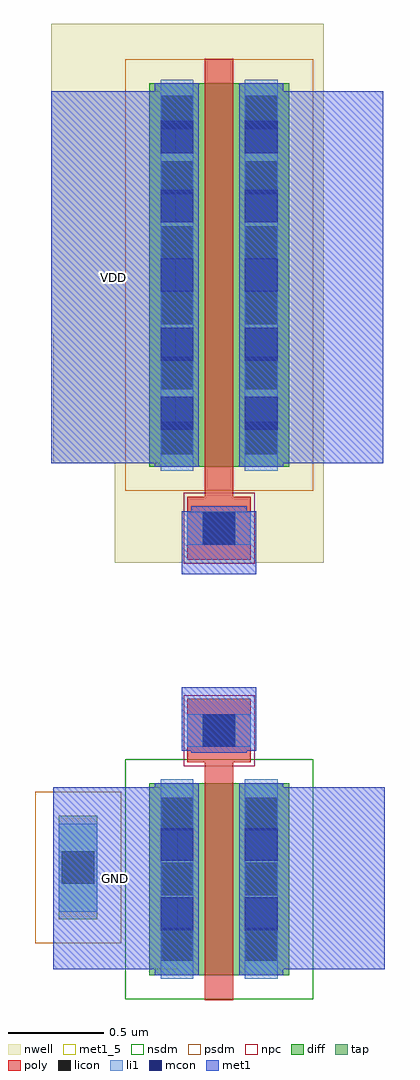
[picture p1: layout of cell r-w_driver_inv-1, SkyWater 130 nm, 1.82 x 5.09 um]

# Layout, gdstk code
import gdstk
lib = gdstk.Library(unit=1e-6, precision=1e-09)
def R(c, l, rs):  # rectangles x0, y0, x1, y1
    for r in rs: c.add(gdstk.rectangle(r[:2], r[2:], *l))
def A(c, l, x, y, w, h, nx, ny, dx, dy):  # array of equal rectangles
    R(c, l, [(x+i*dx, y+j*dy, x+i*dx+w, y+j*dy+h) for i in range(nx) for j in range(ny)])
nwell = (64, 20)
diff = (65, 20)
tap = (65, 44)
poly = (66, 20)
licon = (66, 44)
li1 = (67, 20)
mcon = (67, 44)
met1_5 = (68, 5)
met1 = (68, 20)
nsdm = (93, 44)
psdm = (94, 20)
npc = (95, 20)

sky130_fd_pr__nfet_01v8_ = lib.new_cell('sky130_fd_pr__nfet_01v8_VUA4HL')
R(sky130_fd_pr__nfet_01v8_, diff, [(-0.365,-0.655,0.365,0.345)])
R(sky130_fd_pr__nfet_01v8_, poly, [(-0.075,-0.785,0.075,0.455), (-0.165,0.455,0.165,0.785)])
A(sky130_fd_pr__nfet_01v8_, licon, -0.305, -0.58, 0.17, 0.17, 1, 3, 0, 0.34)
A(sky130_fd_pr__nfet_01v8_, licon, 0.135, -0.58, 0.17, 0.17, 1, 3, 0, 0.34)
R(sky130_fd_pr__nfet_01v8_, licon, [(-0.085,0.535,0.085,0.705)])
R(sky130_fd_pr__nfet_01v8_, li1, [(-0.305,-0.675,-0.135,0.365), (0.135,-0.675,0.305,0.365), (-0.165,0.535,0.165,0.705)])
R(sky130_fd_pr__nfet_01v8_, mcon, [(-0.305,-0.42,-0.135,-0.25), (0.135,-0.42,0.305,-0.25), (-0.305,-0.06,-0.135,0.11), (0.135,-0.06,0.305,0.11), (-0.085,0.535,0.085,0.705)])
R(sky130_fd_pr__nfet_01v8_, met1, [(-0.335,-0.655,-0.105,0.345), (0.105,-0.655,0.335,0.345), (-0.145,0.505,0.145,0.735)])
R(sky130_fd_pr__nfet_01v8_, nsdm, [(-0.49,-0.78,0.49,0.47)])
R(sky130_fd_pr__nfet_01v8_, npc, [(-0.185,0.435,0.185,0.805)])
sky130_fd_pr__nfet_01v8_.add(gdstk.Label('G', (0,0.62), layer=67, texttype=5))
sky130_fd_pr__nfet_01v8_.add(gdstk.Label('S', (0.22,-0.155), layer=67, texttype=5))
sky130_fd_pr__nfet_01v8_.add(gdstk.Label('D', (-0.22,-0.155), layer=67, texttype=5))

sky130_fd_pr__pfet_01v8_ = lib.new_cell('sky130_fd_pr__pfet_01v8_L56CHA')
R(sky130_fd_pr__pfet_01v8_, nwell, [(-0.545,-1.32,0.545,1.49)])
R(sky130_fd_pr__pfet_01v8_, diff, [(-0.365,-0.82,0.365,1.18)])
R(sky130_fd_pr__pfet_01v8_, poly, [(-0.165,-1.305,0.165,-0.975), (-0.075,-0.975,0.075,1.31)])
A(sky130_fd_pr__pfet_01v8_, licon, -0.305, -0.755, 0.17, 0.17, 1, 6, 0, 0.34)
A(sky130_fd_pr__pfet_01v8_, licon, 0.135, -0.755, 0.17, 0.17, 1, 6, 0, 0.34)
R(sky130_fd_pr__pfet_01v8_, licon, [(-0.085,-1.225,0.085,-1.055)])
R(sky130_fd_pr__pfet_01v8_, li1, [(-0.165,-1.225,0.165,-1.055), (-0.305,-0.84,-0.135,1.2), (0.135,-0.84,0.305,1.2)])
A(sky130_fd_pr__pfet_01v8_, mcon, -0.305, -0.625, 0.17, 0.17, 1, 5, 0, 0.36)
A(sky130_fd_pr__pfet_01v8_, mcon, 0.135, -0.625, 0.17, 0.17, 1, 5, 0, 0.36)
R(sky130_fd_pr__pfet_01v8_, mcon, [(-0.085,-1.225,0.085,-1.055)])
R(sky130_fd_pr__pfet_01v8_, met1, [(-0.145,-1.255,0.145,-1.025), (-0.335,-0.82,-0.105,1.18), (0.105,-0.82,0.335,1.18)])
R(sky130_fd_pr__pfet_01v8_, psdm, [(-0.49,-0.945,0.49,1.305)])
R(sky130_fd_pr__pfet_01v8_, npc, [(-0.185,-1.325,0.185,-0.955)])
sky130_fd_pr__pfet_01v8_.add(gdstk.Label('G', (0,-1.14), layer=67, texttype=5))
sky130_fd_pr__pfet_01v8_.add(gdstk.Label('S', (0.22,0.18), layer=67, texttype=5))
sky130_fd_pr__pfet_01v8_.add(gdstk.Label('D', (-0.22,0.18), layer=67, texttype=5))

r_w_driver_inv_1 = lib.new_cell('r-w_driver_inv-1')
R(r_w_driver_inv_1, nwell, [(-0.5,2.34,0,3.02), (-0.51,3.02,0,3.95), (-0.51,3.95,-0.01,4.02), (-0.51,4.02,-0.15,4.35), (-0.51,4.35,0.13,4.59), (-0.51,4.59,-0.15,4.63)])
R(r_w_driver_inv_1, tap, [(-0.47,-0.04,-0.27,0.5)])
R(r_w_driver_inv_1, licon, [(-0.455,0.145,-0.285,0.315)])
R(r_w_driver_inv_1, li1, [(-0.47,0,-0.27,0.46)])
R(r_w_driver_inv_1, met1_5, [(-0.5,-0.3,0.15,0.65), (-0.51,2.34,0.14,4.28)])
R(r_w_driver_inv_1, met1, [(-0.5,-0.3,0.15,0.65), (0.58,-0.3,1.23,0.65), (0.17,0.84,0.56,1.17), (0.17,1.76,0.56,2.09), (-0.51,2.34,0.14,4.28), (0.57,2.34,1.22,4.28)])
R(r_w_driver_inv_1, psdm, [(-0.595,-0.165,-0.145,0.625)])
r_w_driver_inv_1.add(gdstk.Reference(sky130_fd_pr__nfet_01v8_, (0.365,0.325)))
r_w_driver_inv_1.add(gdstk.Reference(sky130_fd_pr__pfet_01v8_, (0.365,3.14)))
r_w_driver_inv_1.add(gdstk.Label('GND', (-0.175,0.175), layer=68, texttype=5))
r_w_driver_inv_1.add(gdstk.Label('VDD', (-0.185,3.31), layer=68, texttype=5))

lib.write_gds('r-w_driver_inv-1.gds')
